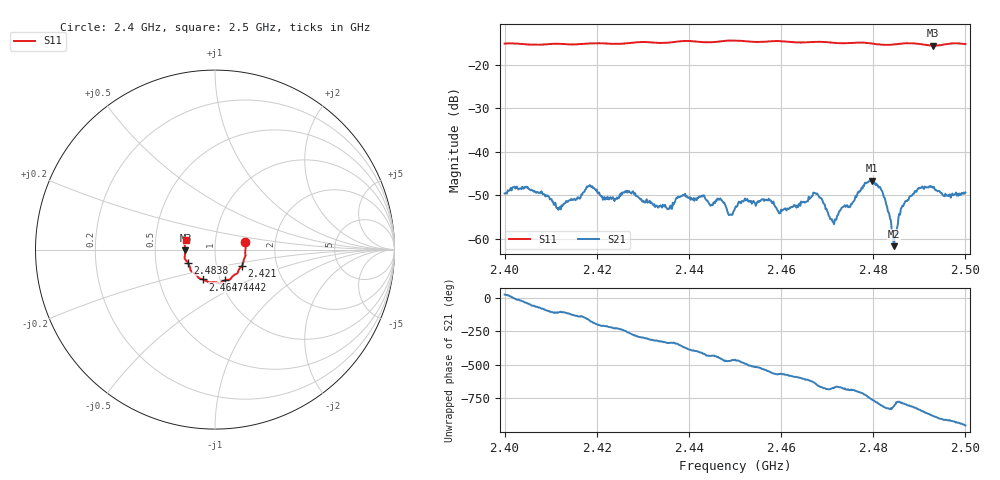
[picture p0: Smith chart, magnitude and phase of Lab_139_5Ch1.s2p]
# Hz S RI R 50
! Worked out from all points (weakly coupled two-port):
!   601 points, 2.4 GHz to 2.5 GHz, reference 50 ohm
!   highest |S21| = -46.68 dB at 2.4797 GHz (marker M1); lowest = -61.7 dB at 2.4845 GHz (marker M2)
!   lowest |S11| = -15.6 dB at 2.493 GHz (marker M3), VSWR 1.40, Z = 35.8 - j0.259 ohm
!   |S11| at or under -10 dB: start of sweep to end of sweep
!   S12 and S22 are empty: the file has one direction only
!   S11 on the Smith chart (normalised r, x): 2.4 GHz: 1.40, +0.12; 2.421 GHz: 1.33, -0.24; 2.4442 GHz: 1.05, -0.37; 2.4647 GHz: 0.83, -0.28; 2.4838 GHz: 0.73, -0.11; 2.5 GHz: 0.72, +0.08
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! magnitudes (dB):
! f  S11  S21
! 2.4 GHz  -15.2  -49.6
! 2.4048 GHz  -15.4  -48.3
! 2.4117 GHz  -15.2  -53.4
! 2.4167 GHz  -15.3  -49.9
! 2.4185 GHz  -15.2  -47.7
! 2.421 GHz  -15.1  -50.3
! 2.4273 GHz  -15.0  -49.5
! 2.4333 GHz  -15.0  -52.9
! 2.4387 GHz  -14.6  -49.9
! 2.4442 GHz  -14.9  -51.6
! 2.45 GHz  -14.5  -53.0
! 2.4647 GHz  -14.9  -51.7
! 2.4667 GHz  -14.8  -50.3
! 2.4715 GHz  -15.0  -56.7
! 2.4797 GHz  -15.2  -46.7
! 2.4818 GHz  -15.4  -48.9
! 2.4833 GHz  -15.5  -53.9
! 2.4838 GHz  -15.5  -55.8
! 2.4845 GHz  -15.4  -61.7
! 2.4867 GHz  -15.1  -52.0
! 2.493 GHz  -15.6  -48.2
! 2.5 GHz  -15.3  -49.4
